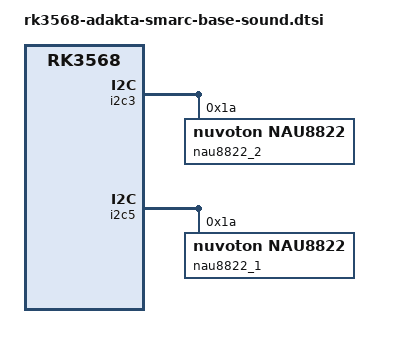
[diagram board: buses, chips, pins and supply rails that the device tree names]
// SPDX-License-Identifier: (GPL-2.0+ OR MIT)
/*
 * Copyright (c) 2024 Adakta, Ltd.
 *
 */

/ {
	sound0 {
		compatible = "simple-audio-card";
		simple-audio-card,format = "i2s";
		simple-audio-card,name = "NAU88C22 1";
		simple-audio-card,bitclock-master = <&sound0_masterdai>;
		simple-audio-card,frame-master = <&sound0_masterdai>;
		simple-audio-card,mclk-fs = <256>;
		simple-audio-card,widgets =
			"Headphones", "Headphones",
			"Speaker", "Speaker",
			"Microphone", "Internal Microphone",
			"Microphone", "Headset Microphone";
		simple-audio-card,routing =
			"Headphones", "LHP",
			"Headphones", "RHP",
			"Speaker", "LSPK",
			"Speaker", "RSPK",
			"LMICP", "Headset Microphone",
			"RMICP", "Internal Microphone";

		simple-audio-card,cpu {
			sound-dai = <&i2s1_8ch>;
		};

		sound0_masterdai: simple-audio-card,codec {
			sound-dai = <&nau8822_1>;
		};
	};

	sound1 {
		compatible = "simple-audio-card";
		simple-audio-card,format = "i2s";
		simple-audio-card,name = "NAU88C22 2";
		simple-audio-card,bitclock-master = <&sound1_masterdai>;
		simple-audio-card,frame-master = <&sound1_masterdai>;
		simple-audio-card,mclk-fs = <256>;
		simple-audio-card,widgets =
			"Headphones", "Headphones",
			"Speaker", "Speaker",
			"Microphone", "Internal Microphone",
			"Microphone", "Headset Microphone";
		simple-audio-card,routing =
			"Headphones", "LHP",
			"Headphones", "RHP",
			"Speaker", "LSPK",
			"Speaker", "RSPK",
			"LMICP", "Headset Microphone",
			"RMICP", "Internal Microphone";

		simple-audio-card,cpu {
			sound-dai = <&i2s3_2ch>;
		};

		sound1_masterdai: simple-audio-card,codec {
			sound-dai = <&nau8822_2>;
		};
	};
};

&i2c3 {
	nau8822_2: nau8822-2@1a {
		compatible = "nuvoton,nau8822";
		reg = <0x1a>;

		clocks = <&cru I2S3_MCLKOUT_TX>;
		clock-names = "mclk";
		assigned-clocks = <&cru I2S3_MCLKOUT_TX>;
		assigned-clock-parents = <&cru CLK_I2S3_2CH_TX>;
		assigned-clock-rates = <12288000>;

		#sound-dai-cells = <0>;
	};
};

&i2c5 {
	nau8822_1: nau8822-1@1a {
		compatible = "nuvoton,nau8822";
		reg = <0x1a>;

		pinctrl-names = "default";
		pinctrl-0 = <&i2s1m0_mclk>;
		clocks = <&cru I2S1_MCLKOUT_TX>;
		clock-names = "mclk";
		assigned-clocks = <&cru I2S1_MCLKOUT_TX>;
		assigned-clock-parents = <&cru CLK_I2S1_8CH_TX>;
		assigned-clock-rates = <12288000>;

		#sound-dai-cells = <0>;
	};
};
